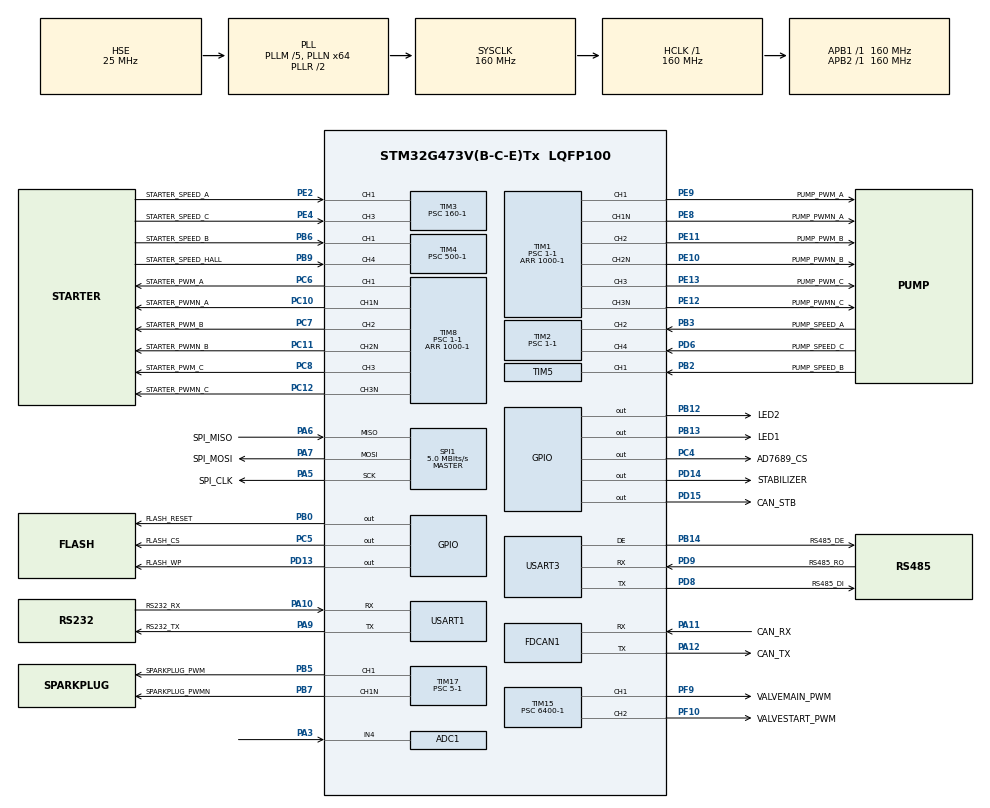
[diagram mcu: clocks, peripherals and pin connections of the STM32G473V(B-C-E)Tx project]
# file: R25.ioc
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ADC1.Channel-0\#ChannelRegularConversion=ADC_CHANNEL_VREFINT
ADC1.Channel-2\#ChannelRegularConversion=ADC_CHANNEL_TEMPSENSOR_ADC1
ADC1.Channel-3\#ChannelRegularConversion=ADC_CHANNEL_4
ADC1.EOCSelection=ADC_EOC_SEQ_CONV
ADC1.EnableAnalogWatchDog1=false
ADC1.EnableAnalogWatchDog2=false
ADC1.NbrOfConversion=3
ADC1.NbrOfConversionFlag=1
ADC1.OffsetNumber-0\#ChannelRegularConversion=ADC_OFFSET_NONE
ADC1.OffsetNumber-2\#ChannelRegularConversion=ADC_OFFSET_NONE
ADC1.OffsetNumber-3\#ChannelRegularConversion=ADC_OFFSET_NONE
ADC1.Rank-0\#ChannelRegularConversion=1
ADC1.Rank-2\#ChannelRegularConversion=2
ADC1.Rank-3\#ChannelRegularConversion=3
ADC1.SamplingTime-0\#ChannelRegularConversion=ADC_SAMPLETIME_247CYCLES_5
ADC1.SamplingTime-2\#ChannelRegularConversion=ADC_SAMPLETIME_247CYCLES_5
ADC1.SamplingTime-3\#ChannelRegularConversion=ADC_SAMPLETIME_247CYCLES_5
ADC1.master=1
Dma.ADC1.4.Direction=DMA_PERIPH_TO_MEMORY
Dma.ADC1.4.EventEnable=DISABLE
Dma.ADC1.4.Instance=DMA1_Channel3
Dma.ADC1.4.MemDataAlignment=DMA_MDATAALIGN_HALFWORD
Dma.ADC1.4.MemInc=DMA_MINC_ENABLE
Dma.ADC1.4.Mode=DMA_NORMAL
Dma.ADC1.4.PeriphDataAlignment=DMA_PDATAALIGN_HALFWORD
Dma.ADC1.4.PeriphInc=DMA_PINC_DISABLE
Dma.ADC1.4.Polarity=HAL_DMAMUX_REQ_GEN_RISING
Dma.ADC1.4.Priority=DMA_PRIORITY_LOW
Dma.ADC1.4.RequestNumber=1
Dma.ADC1.4.SignalID=NONE
Dma.ADC1.4.SyncEnable=DISABLE
Dma.ADC1.4.SyncPolarity=HAL_DMAMUX_SYNC_NO_EVENT
Dma.ADC1.4.SyncRequestNumber=1
Dma.ADC1.4.SyncSignalID=NONE
Dma.Request0=USART3_RX
Dma.Request1=USART3_TX
Dma.Request2=SPI1_RX
Dma.Request3=SPI1_TX
Dma.Request4=ADC1
Dma.SPI1_RX.2.Direction=DMA_PERIPH_TO_MEMORY
Dma.SPI1_RX.2.EventEnable=DISABLE
Dma.SPI1_RX.2.Instance=DMA1_Channel6
Dma.SPI1_RX.2.MemDataAlignment=DMA_MDATAALIGN_BYTE
Dma.SPI1_RX.2.MemInc=DMA_MINC_ENABLE
Dma.SPI1_RX.2.Mode=DMA_NORMAL
Dma.SPI1_RX.2.PeriphDataAlignment=DMA_PDATAALIGN_BYTE
Dma.SPI1_RX.2.PeriphInc=DMA_PINC_DISABLE
Dma.SPI1_RX.2.Polarity=HAL_DMAMUX_REQ_GEN_RISING
Dma.SPI1_RX.2.Priority=DMA_PRIORITY_LOW
Dma.SPI1_RX.2.RequestNumber=1
Dma.SPI1_RX.2.SignalID=NONE
Dma.SPI1_RX.2.SyncEnable=DISABLE
Dma.SPI1_RX.2.SyncPolarity=HAL_DMAMUX_SYNC_NO_EVENT
Dma.SPI1_RX.2.SyncRequestNumber=1
Dma.SPI1_RX.2.SyncSignalID=NONE
Dma.SPI1_TX.3.Direction=DMA_MEMORY_TO_PERIPH
Dma.SPI1_TX.3.EventEnable=DISABLE
Dma.SPI1_TX.3.Instance=DMA1_Channel7
Dma.SPI1_TX.3.MemDataAlignment=DMA_MDATAALIGN_BYTE
Dma.SPI1_TX.3.MemInc=DMA_MINC_ENABLE
Dma.SPI1_TX.3.Mode=DMA_NORMAL
Dma.SPI1_TX.3.PeriphDataAlignment=DMA_PDATAALIGN_BYTE
Dma.SPI1_TX.3.PeriphInc=DMA_PINC_DISABLE
Dma.SPI1_TX.3.Polarity=HAL_DMAMUX_REQ_GEN_RISING
Dma.SPI1_TX.3.Priority=DMA_PRIORITY_LOW
Dma.SPI1_TX.3.RequestNumber=1
Dma.SPI1_TX.3.SignalID=NONE
Dma.SPI1_TX.3.SyncEnable=DISABLE
Dma.SPI1_TX.3.SyncPolarity=HAL_DMAMUX_SYNC_NO_EVENT
Dma.SPI1_TX.3.SyncRequestNumber=1
Dma.SPI1_TX.3.SyncSignalID=NONE
Dma.USART3_RX.0.Direction=DMA_PERIPH_TO_MEMORY
Dma.USART3_RX.0.EventEnable=DISABLE
Dma.USART3_RX.0.Instance=DMA1_Channel1
Dma.USART3_RX.0.MemDataAlignment=DMA_MDATAALIGN_BYTE
Dma.USART3_RX.0.MemInc=DMA_MINC_ENABLE
Dma.USART3_RX.0.Mode=DMA_NORMAL
Dma.USART3_RX.0.PeriphDataAlignment=DMA_PDATAALIGN_BYTE
Dma.USART3_RX.0.PeriphInc=DMA_PINC_DISABLE
Dma.USART3_RX.0.Polarity=HAL_DMAMUX_REQ_GEN_RISING
Dma.USART3_RX.0.Priority=DMA_PRIORITY_LOW
Dma.USART3_RX.0.RequestNumber=1
Dma.USART3_RX.0.SignalID=NONE
Dma.USART3_RX.0.SyncEnable=DISABLE
Dma.USART3_RX.0.SyncPolarity=HAL_DMAMUX_SYNC_NO_EVENT
Dma.USART3_RX.0.SyncRequestNumber=1
Dma.USART3_RX.0.SyncSignalID=NONE
Dma.USART3_TX.1.Direction=DMA_MEMORY_TO_PERIPH
Dma.USART3_TX.1.EventEnable=DISABLE
Dma.USART3_TX.1.Instance=DMA1_Channel2
Dma.USART3_TX.1.MemDataAlignment=DMA_MDATAALIGN_BYTE
Dma.USART3_TX.1.MemInc=DMA_MINC_ENABLE
Dma.USART3_TX.1.Mode=DMA_NORMAL
Dma.USART3_TX.1.PeriphDataAlignment=DMA_PDATAALIGN_BYTE
Dma.USART3_TX.1.PeriphInc=DMA_PINC_DISABLE
Dma.USART3_TX.1.Polarity=HAL_DMAMUX_REQ_GEN_RISING
Dma.USART3_TX.1.Priority=DMA_PRIORITY_LOW
Dma.USART3_TX.1.RequestNumber=1
Dma.USART3_TX.1.SignalID=NONE
Dma.USART3_TX.1.SyncEnable=DISABLE
Dma.USART3_TX.1.SyncPolarity=HAL_DMAMUX_SYNC_NO_EVENT
Dma.USART3_TX.1.SyncRequestNumber=1
Dma.USART3_TX.1.SyncSignalID=NONE
FDCAN1.CalculateBaudRateNominal=3333333
FDCAN1.CalculateTimeBitNominal=300
FDCAN1.CalculateTimeQuantumNominal=100.0
Mcu.Family=STM32G4
Mcu.Name=STM32G473V(B-C-E)Tx
Mcu.Package=LQFP100
NVIC.DMA1_Channel1_IRQn=true\:0\:0\:false\:false\:true\:false\:true\:true
NVIC.DMA1_Channel2_IRQn=true\:0\:0\:false\:false\:true\:false\:true\:true
NVIC.DMA1_Channel3_IRQn=true\:0\:0\:false\:false\:true\:false\:true\:true
NVIC.DMA1_Channel6_IRQn=true\:0\:0\:false\:false\:true\:false\:true\:true
NVIC.DMA1_Channel7_IRQn=true\:0\:0\:false\:false\:true\:false\:true\:true
NVIC.FDCAN1_IT0_IRQn=true\:0\:0\:false\:false\:true\:true\:true\:true
NVIC.PriorityGroup=NVIC_PRIORITYGROUP_4
NVIC.SPI1_IRQn=true\:0\:0\:false\:false\:true\:true\:true\:true
NVIC.TIM1_UP_TIM16_IRQn=true\:0\:0\:false\:false\:true\:true\:true\:true
NVIC.TIM20_UP_IRQn=true\:0\:0\:false\:false\:true\:true\:true\:true
NVIC.TIM2_IRQn=true\:0\:0\:false\:false\:true\:true\:true\:true
NVIC.TIM3_IRQn=true\:0\:0\:false\:false\:true\:true\:true\:true
NVIC.TIM4_IRQn=true\:0\:0\:false\:false\:true\:true\:true\:true
NVIC.TIM5_IRQn=true\:0\:0\:false\:false\:true\:true\:true\:true
NVIC.TIM6_DAC_IRQn=true\:0\:0\:false\:false\:true\:true\:true\:true
NVIC.TIM7_DAC_IRQn=true\:0\:0\:false\:false\:true\:true\:true\:true
NVIC.USART1_IRQn=true\:0\:0\:false\:false\:true\:true\:true\:true
NVIC.USART3_IRQn=true\:0\:0\:false\:false\:true\:true\:true\:true
PA10.GPIO_Label=RS232_RX
PA10.Mode=Asynchronous
PA10.Signal=USART1_RX
PA11.GPIO_Label=CAN_RX
PA11.Mode=FDCAN_Activate
PA11.Signal=FDCAN1_RX
PA12.GPIO_Label=CAN_TX
PA12.Mode=FDCAN_Activate
PA12.Signal=FDCAN1_TX
PA13.GPIO_Label=SWDIO
PA13.Mode=Serial_Wire
PA13.Signal=SYS_JTMS-SWDIO
PA14.GPIO_Label=SWCLK
PA14.Mode=Serial_Wire
PA14.Signal=SYS_JTCK-SWCLK
PA3.Mode=IN4-Single-Ended
PA3.Signal=ADC1_IN4
PA5.GPIO_Label=SPI_CLK
PA5.GPIO_Speed=GPIO_SPEED_FREQ_VERY_HIGH
PA5.Mode=Full_Duplex_Master
PA5.Signal=SPI1_SCK
PA6.GPIO_Label=SPI_MISO
PA6.GPIO_Speed=GPIO_SPEED_FREQ_VERY_HIGH
PA6.Mode=Full_Duplex_Master
PA6.Signal=SPI1_MISO
PA7.GPIO_Label=SPI_MOSI
PA7.GPIO_Speed=GPIO_SPEED_FREQ_VERY_HIGH
PA7.Mode=Full_Duplex_Master
PA7.Signal=SPI1_MOSI
PA9.GPIO_Label=RS232_TX
PA9.Mode=Asynchronous
PA9.Signal=USART1_TX
PB0.GPIO_Label=FLASH_RESET
PB0.Signal=GPIO_Output
PB12.GPIO_Label=LED2
PB12.GPIO_ModeDefaultOutputPP=GPIO_MODE_OUTPUT_PP
PB12.GPIO_PuPd=GPIO_PULLUP
PB12.GPIO_Speed=GPIO_SPEED_FREQ_VERY_HIGH
PB12.Signal=GPIO_Output
PB13.GPIO_Label=LED1
PB13.GPIO_ModeDefaultOutputPP=GPIO_MODE_OUTPUT_OD
PB13.GPIO_PuPd=GPIO_PULLUP
PB13.GPIO_Speed=GPIO_SPEED_FREQ_VERY_HIGH
PB13.Signal=GPIO_Output
PB14.GPIO_Label=RS485_DE
PB14.Mode=Hardware Flow Control (RS485)
PB14.Signal=USART3_DE
PB2.GPIO_Label=PUMP_SPEED_B
PB2.Signal=S_TIM5_CH1
PB3.GPIO_Label=PUMP_SPEED_A
PB3.Signal=S_TIM2_CH2
PB5.GPIO_Label=SPARKPLUG_PWM
PB5.Signal=S_TIM17_CH1
PB6.GPIO_Label=STARTER_SPEED_B
PB6.Signal=S_TIM4_CH1
PB7.GPIO_Label=SPARKPLUG_PWMN
PB7.Mode=PWM Generation1 CH1 CH1N
PB7.Signal=TIM17_CH1N
PB9.GPIO_Label=STARTER_SPEED_HALL
PB9.Signal=S_TIM4_CH4
PC10.GPIO_Label=STARTER_PWMN_A
PC10.GPIO_Speed=GPIO_SPEED_FREQ_VERY_HIGH
PC10.Mode=PWM Generation1 CH1 CH1N
PC10.Signal=TIM8_CH1N
PC11.GPIO_Label=STARTER_PWMN_B
PC11.GPIO_Speed=GPIO_SPEED_FREQ_VERY_HIGH
PC11.Mode=PWM Generation2 CH2 CH2N
PC11.Signal=TIM8_CH2N
PC12.GPIO_Label=STARTER_PWMN_C
PC12.GPIO_Speed=GPIO_SPEED_FREQ_VERY_HIGH
PC12.Mode=PWM Generation3 CH3 CH3N
PC12.Signal=TIM8_CH3N
PC4.GPIO_Label=AD7689_CS
PC4.GPIO_PuPd=GPIO_PULLUP
PC4.GPIO_Speed=GPIO_SPEED_FREQ_VERY_HIGH
PC4.Signal=GPIO_Output
PC5.GPIO_Label=FLASH_CS
PC5.GPIO_PuPd=GPIO_PULLUP
PC5.GPIO_Speed=GPIO_SPEED_FREQ_VERY_HIGH
PC5.Signal=GPIO_Output
PC6.GPIO_Label=STARTER_PWM_A
PC6.GPIO_Speed=GPIO_SPEED_FREQ_VERY_HIGH
PC6.Signal=S_TIM8_CH1
PC7.GPIO_Label=STARTER_PWM_B
PC7.GPIO_Speed=GPIO_SPEED_FREQ_VERY_HIGH
PC7.Signal=S_TIM8_CH2
PC8.GPIO_Label=STARTER_PWM_C
PC8.GPIO_Speed=GPIO_SPEED_FREQ_VERY_HIGH
PC8.Signal=S_TIM8_CH3
PD13.GPIO_Label=FLASH_WP
PD13.Signal=GPIO_Output
PD14.GPIO_Label=STABILIZER
PD14.Signal=GPIO_Output
PD15.GPIO_Label=CAN_STB
PD15.Signal=GPIO_Output
PD6.GPIO_Label=PUMP_SPEED_C
PD6.Signal=S_TIM2_CH4
PD8.GPIO_Label=RS485_DI
PD8.Mode=Asynchronous
PD8.Signal=USART3_TX
PD9.GPIO_Label=RS485_RO
PD9.Mode=Asynchronous
PD9.Signal=USART3_RX
PE10.GPIO_Label=PUMP_PWMN_B
PE10.GPIO_Speed=GPIO_SPEED_FREQ_VERY_HIGH
PE10.Mode=PWM Generation2 CH2 CH2N
PE10.Signal=TIM1_CH2N
PE11.GPIO_Label=PUMP_PWM_B
PE11.GPIO_Speed=GPIO_SPEED_FREQ_VERY_HIGH
PE11.Signal=S_TIM1_CH2
PE12.GPIO_Label=PUMP_PWMN_C
PE12.GPIO_Speed=GPIO_SPEED_FREQ_VERY_HIGH
PE12.Mode=PWM Generation3 CH3 CH3N
PE12.Signal=TIM1_CH3N
PE13.GPIO_Label=PUMP_PWM_C
PE13.GPIO_Speed=GPIO_SPEED_FREQ_VERY_HIGH
PE13.Signal=S_TIM1_CH3
PE2.GPIO_Label=STARTER_SPEED_A
PE2.Signal=S_TIM3_CH1
PE4.GPIO_Label=STARTER_SPEED_C
PE4.Signal=S_TIM3_CH3
PE8.GPIO_Label=PUMP_PWMN_A
PE8.GPIO_Speed=GPIO_SPEED_FREQ_VERY_HIGH
PE8.Mode=PWM Generation1 CH1 CH1N
PE8.Signal=TIM1_CH1N
PE9.GPIO_Label=PUMP_PWM_A
PE9.GPIO_Speed=GPIO_SPEED_FREQ_VERY_HIGH
PE9.Signal=S_TIM1_CH1
PF0-OSC_IN.Mode=HSE-External-Oscillator
PF0-OSC_IN.Signal=RCC_OSC_IN
PF1-OSC_OUT.Mode=HSE-External-Oscillator
PF1-OSC_OUT.Signal=RCC_OSC_OUT
PF10.GPIO_Label=VALVESTART_PWM
PF10.Signal=S_TIM15_CH2
PF9.GPIO_Label=VALVEMAIN_PWM
PF9.Signal=S_TIM15_CH1
ProjectManager.HeapSize=0x200
ProjectManager.StackSize=0x400
ProjectManager.TargetToolchain=STM32CubeIDE
RCC.ADC12Freq_Value=160000000
RCC.ADC345Freq_Value=160000000
RCC.AHBFreq_Value=160000000
RCC.APB1Freq_Value=160000000
RCC.APB1TimFreq_Value=160000000
RCC.APB2Freq_Value=160000000
RCC.APB2TimFreq_Value=160000000
RCC.CortexFreq_Value=160000000
RCC.EXTERNAL_CLOCK_VALUE=12288000
RCC.HCLKFreq_Value=160000000
RCC.HSE_VALUE=25000000
RCC.HSI48_VALUE=48000000
RCC.HSI_VALUE=16000000
RCC.LSE_VALUE=32768
RCC.PLLM=RCC_PLLM_DIV5
RCC.PLLN=64
RCC.PLLSourceVirtual=RCC_PLLSOURCE_HSE
RCC.SYSCLKFreq_VALUE=160000000
RCC.SYSCLKSource=RCC_SYSCLKSOURCE_PLLCLK
RCC.USBFreq_Value=160000000
RCC.VCOOutputFreq_Value=320000000
SH.S_TIM15_CH1.0=TIM15_CH1,PWM Generation1 CH1
SH.S_TIM15_CH2.0=TIM15_CH2,PWM Generation2 CH2
SH.S_TIM17_CH1.0=TIM17_CH1,PWM Generation1 CH1 CH1N
SH.S_TIM1_CH1.0=TIM1_CH1,PWM Generation1 CH1 CH1N
SH.S_TIM1_CH2.0=TIM1_CH2,PWM Generation2 CH2 CH2N
SH.S_TIM1_CH3.0=TIM1_CH3,PWM Generation3 CH3 CH3N
SH.S_TIM2_CH2.0=TIM2_CH2,Input_Capture2_from_TI2
SH.S_TIM2_CH4.0=TIM2_CH4,Input_Capture4_from_TI4
SH.S_TIM3_CH1.0=TIM3_CH1,Input_Capture1_from_TI1
SH.S_TIM3_CH3.0=TIM3_CH3,Input_Capture3_from_TI3
SH.S_TIM4_CH1.0=TIM4_CH1,Input_Capture1_from_TI1
SH.S_TIM4_CH4.0=TIM4_CH4,Input_Capture4_from_TI4
SH.S_TIM5_CH1.0=TIM5_CH1,Input_Capture1_from_TI1
SH.S_TIM8_CH1.0=TIM8_CH1,PWM Generation1 CH1 CH1N
SH.S_TIM8_CH2.0=TIM8_CH2,PWM Generation2 CH2 CH2N
SH.S_TIM8_CH3.0=TIM8_CH3,PWM Generation3 CH3 CH3N
SPI1.BaudRatePrescaler=SPI_BAUDRATEPRESCALER_32
SPI1.CalculateBaudRate=5.0 MBits/s
SPI1.DataSize=SPI_DATASIZE_8BIT
SPI1.Direction=SPI_DIRECTION_2LINES
SPI1.Mode=SPI_MODE_MASTER
SPI1.NSSPMode=SPI_NSS_PULSE_ENABLE
SPI1.VirtualType=VM_MASTER
TIM1.AutoReloadPreload=TIM_AUTORELOAD_PRELOAD_DISABLE
TIM1.Channel-PWM\ Generation1\ CH1\ CH1N=TIM_CHANNEL_1
TIM1.Channel-PWM\ Generation2\ CH2\ CH2N=TIM_CHANNEL_2
TIM1.Channel-PWM\ Generation3\ CH3\ CH3N=TIM_CHANNEL_3
TIM1.DeadTime=2
TIM1.OCIdleState_1=TIM_OCIDLESTATE_RESET
TIM1.PeriodNoDither=1000-1
TIM1.Prescaler=1-1
TIM15.Channel-PWM\ Generation1\ CH1=TIM_CHANNEL_1
TIM15.Channel-PWM\ Generation2\ CH2=TIM_CHANNEL_2
TIM15.OCPolarity_1=TIM_OCPOLARITY_HIGH
TIM15.OCPolarity_2=TIM_OCPOLARITY_HIGH
TIM15.PeriodNoDither=1000-1
TIM15.Prescaler=6400-1
TIM15.PulseNoDither_1=0
TIM15.PulseNoDither_2=0
TIM16.AutoReloadPreload=TIM_AUTORELOAD_PRELOAD_ENABLE
TIM16.PeriodNoDither=1000-1
TIM16.Prescaler=160-1
TIM17.Channel=TIM_CHANNEL_1
TIM17.DeadTime=10
TIM17.PeriodNoDither=166-1
TIM17.Prescaler=5-1
TIM2.Channel-Input_Capture1_from_TI2_63=TIM_CHANNEL_1
TIM2.Channel-Input_Capture2_from_TI2=TIM_CHANNEL_2
TIM2.Channel-Input_Capture3_from_TI4_63=TIM_CHANNEL_3
TIM2.Channel-Input_Capture4_from_TI4=TIM_CHANNEL_4
TIM2.ICFilter_CH2=15
TIM2.ICFilter_CH4=15
TIM2.ICPolarity_CH1=TIM_INPUTCHANNELPOLARITY_FALLING
TIM2.ICPolarity_CH2=TIM_INPUTCHANNELPOLARITY_RISING
TIM2.ICPolarity_CH3=TIM_INPUTCHANNELPOLARITY_FALLING
TIM2.ICPolarity_CH4=TIM_INPUTCHANNELPOLARITY_RISING
TIM2.Prescaler=1-1
TIM20.PeriodNoDither=10000-1
TIM20.Prescaler=1600-1
TIM3.AutoReloadPreload=TIM_AUTORELOAD_PRELOAD_DISABLE
TIM3.Channel-Input_Capture1_from_TI1=TIM_CHANNEL_1
TIM3.Channel-Input_Capture2_from_TI1_63=TIM_CHANNEL_2
TIM3.Channel-Input_Capture3_from_TI3=TIM_CHANNEL_3
TIM3.Channel-Input_Capture4_from_TI3_63=TIM_CHANNEL_4
TIM3.ICFilter_CH1=15
TIM3.ICFilter_CH3=15
TIM3.ICPolarity_CH1=TIM_INPUTCHANNELPOLARITY_FALLING
TIM3.ICPolarity_CH2=TIM_INPUTCHANNELPOLARITY_RISING
TIM3.ICPolarity_CH3=TIM_INPUTCHANNELPOLARITY_FALLING
TIM3.ICPolarity_CH4=TIM_INPUTCHANNELPOLARITY_RISING
TIM3.Prescaler=160-1
TIM4.AutoReloadPreload=TIM_AUTORELOAD_PRELOAD_DISABLE
TIM4.Channel-Input_Capture1_from_TI1=TIM_CHANNEL_1
TIM4.Channel-Input_Capture2_from_TI1_63=TIM_CHANNEL_2
TIM4.Channel-Input_Capture3_from_TI4_63=TIM_CHANNEL_3
TIM4.Channel-Input_Capture4_from_TI4=TIM_CHANNEL_4
TIM4.ICFilter_CH1=15
TIM4.ICFilter_CH4=15
TIM4.ICPolarity_CH2=TIM_INPUTCHANNELPOLARITY_FALLING
TIM4.ICPolarity_CH3=TIM_INPUTCHANNELPOLARITY_FALLING
TIM4.ICPrescaler-Input_Capture3_from_TI4_63=TIM_ICPSC_DIV1
TIM4.ICPrescaler-Input_Capture4_from_TI4=TIM_ICPSC_DIV1
TIM4.PeriodNoDither=60000-1
TIM4.Prescaler=500-1
TIM5.Channel-Input_Capture1_from_TI1=TIM_CHANNEL_1
TIM5.Channel-Input_Capture2_from_TI1_63=TIM_CHANNEL_2
TIM5.ICFilter_CH1=15
TIM5.ICPolarity_CH2=TIM_INPUTCHANNELPOLARITY_FALLING
TIM5.PeriodNoDither=3000-1
TIM5.Prescaler=160-1
TIM6.AutoReloadPreload=TIM_AUTORELOAD_PRELOAD_ENABLE
TIM6.PeriodNoDither=6000-1
TIM6.Prescaler=6000-1
TIM6.TIM_MasterOutputTrigger=TIM_TRGO_RESET
TIM7.AutoReloadPreload=TIM_AUTORELOAD_PRELOAD_ENABLE
TIM7.PeriodNoDither=6000-1
TIM7.Prescaler=6000-1
TIM8.AutoReloadPreload=TIM_AUTORELOAD_PRELOAD_DISABLE
TIM8.Channel-PWM\ Generation1\ CH1\ CH1N=TIM_CHANNEL_1
TIM8.Channel-PWM\ Generation2\ CH2\ CH2N=TIM_CHANNEL_2
TIM8.Channel-PWM\ Generation3\ CH3\ CH3N=TIM_CHANNEL_3
TIM8.DeadTime=2
TIM8.DeadTimePreload=DISABLE
TIM8.PeriodNoDither=1000-1
TIM8.Prescaler=1-1
USART1.VirtualMode-Asynchronous=VM_ASYNC
USART3.VirtualMode-Asynchronous=VM_ASYNC
USART3.VirtualMode-Hardware\ Flow\ Control\ (RS485)=VM_ASYNC
VP_ADC1_TempSens_Input.Mode=IN-TempSens
VP_ADC1_Vref_Input.Mode=IN-Vrefint
VP_CRC_VS_CRC.Mode=CRC_Activate
VP_SYS_VS_DBSignals.Mode=DisableDeadBatterySignals
VP_TIM16_VS_ClockSourceINT.Mode=Enable_Timer
VP_TIM17_VS_ClockSourceINT.Mode=Enable_Timer
VP_TIM20_VS_ClockSourceINT.Mode=Internal
VP_TIM2_VS_indirect_ch2.Mode=Input_Capture1_from_TI2_63
VP_TIM2_VS_indirect_ch4.Mode=Input_Capture3_from_TI4_63
VP_TIM3_VS_indirect_ch1.Mode=Input_Capture2_from_TI1_63
VP_TIM3_VS_indirect_ch3.Mode=Input_Capture4_from_TI3_63
VP_TIM4_VS_indirect_ch1.Mode=Input_Capture2_from_TI1_63
VP_TIM4_VS_indirect_ch4.Mode=Input_Capture3_from_TI4_63
VP_TIM5_VS_indirect_ch1.Mode=Input_Capture2_from_TI1_63
VP_TIM6_VS_ClockSourceINT.Mode=Enable_Timer
VP_TIM7_VS_ClockSourceINT.Mode=Enable_Timer
board=custom

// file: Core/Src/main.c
/* USER CODE BEGIN Header */
/**
 ******************************************************************************
 * @file           : main.c
 * @brief          : Main program body
 ******************************************************************************
 * @attention
 *
 * Copyright (c) 2026 STMicroelectronics.
 * All rights reserved.
 *
 * This software is licensed under terms that can be found in the LICENSE file
 * in the root directory of this software component.
 * If no LICENSE file comes with this software, it is provided AS-IS.
 *
 ******************************************************************************
 */
/* USER CODE END Header */
#include "main.h"
#include "adc.h"
#include "crc.h"
#include "dma.h"
#include "fdcan.h"
#include "spi.h"
#include "tim.h"
#include "usart.h"
#include "gpio.h"

/* USER CODE BEGIN Includes */
#include "pump.h"
#include "starter.h"
#include <stdlib.h>
#include "system.h"
#include "../../../../Thermocouple/thermocouple.h"
#include "flash_modul.h"
/* USER CODE END Includes */

/* USER CODE BEGIN PV */

uint8_t rs_rx_flag=0;
uint8_t rs_tx_flag=0;
uint8_t ModbusRX[300];
uint8_t ModbusTX[20]={0xFE,0xFE,0xC1,0,1,2,3,4,5,6,7,8,9,0x00,0xFF,0xFF};
uint8_t i=0;
//uint32_t test=0;
uint8_t count_start_byte=0;//количество байт в заголовке пакета
uint8_t count_stop_byte=0;//количество байт в конце пакета
uint16_t receive_package_size=0;

uint8_t xor=0;
uint8_t arr_size_tx=0;
uint8_t usb_rx_flag=0;

//uint8_t advence_tm_buff[77]={0xFE,0xFE,ADDRESS};
uint32_t time=0;

uint8_t standard_response[STANDARD_ANSWER_SIZE+2]={0xFE,0xFE,0xA1,0x00,0x00,0xFF,0xFF};//расширенный размер на случай добавления экранирования
//uint8_t tm_response[TM_ANSWER_SIZE+30]={0xFE,0xFE,ADDRESS,0,0,0,0,0,0,0,0,0,0,0,0,0,0,0,0,0,0,0,0,0xFF,0xFF};
//  uint8_t tm_response_new[TM_ANSWER_SIZE]={0xFE,0xFE,ADDRESS,0,0,0,0,0,0,0,0,0,0,0,0,0,0,0,0,0,0,0,0,0xFF,0xFF};
uint8_t tm_update_flag=1;

uint8_t screen_numb=0;//количество экранированных байт

uint8_t rs_control_state=0;//для контроля приходов пакетов

uint8_t rs_req_count=0;
uint8_t rs_rud_count=0;
uint8_t rs_bsu_count=0;

uint16_t rs_old_bsu_count=0;
uint16_t rs_new_bsu_count=0;

uint16_t sau_to_bsu_count=0;

uint8_t rs_start_stop_err_count=0;
uint8_t rs_start_count=0;
uint8_t rs_start1_count=0;
uint8_t rs_start2_count=0;

uint8_t rs_stop_count=0;
uint8_t rs_stop1_count=0;
uint8_t rs_stop2_count=0;

uint8_t rs_flag_ok=0;
uint8_t rs_state_count=0;

uint8_t rs_com1_state=0;
uint8_t rs_com2_state=0;
uint8_t rs_com3_state=0;
uint8_t rs_com4_state=0;

uint8_t rs_com1_count=0;
uint8_t rs_com2_count=0;
uint8_t rs_com3_count=0;
uint8_t rs_com4_count=0;
uint8_t flag_combat_start=0;

struct TIM tim;
#pragma pack(0)
struct ADC_1 adc_1;
#pragma pack(0)
struct CONFIG config;
struct CONFIG *p_config;
#pragma pack(0)
struct GET_CONFIG get_config;
struct SET_CONFIG set_config;
/* USER CODE END PV */

void SystemClock_Config(void);
/* USER CODE BEGIN PFP */
//static inline void BLDC_Update();
void Get_Speed_Starter();
uint32_t Hall_filter(uint32_t rotor_speed);
/* USER CODE END PFP */

/* USER CODE BEGIN 0 */
int16_t hall_ccr = 0;
float hall_speed = 0;
uint8_t no_capture = 1;
/* USER CODE END 0 */

int main(void)
{

  /* MCU Configuration--------------------------------------------------------*/

  /* Reset of all peripherals, Initializes the Flash interface and the Systick. */
  HAL_Init();

  /* Configure the system clock */
  SystemClock_Config();

  /* Initialize all configured peripherals */
  MX_GPIO_Init();
  MX_DMA_Init();
  MX_FDCAN1_Init();
  MX_SPI1_Init();
  MX_TIM1_Init();
  MX_TIM8_Init();
  MX_TIM2_Init();
  MX_TIM3_Init();
  MX_TIM15_Init();
  MX_USART1_UART_Init();
  MX_USART3_UART_Init();
  MX_TIM4_Init();
  MX_TIM5_Init();
  MX_TIM6_Init();
  MX_TIM17_Init();
  MX_ADC1_Init();
  MX_TIM7_Init();
  MX_TIM16_Init();
  MX_CRC_Init();
  MX_TIM20_Init();
  /* USER CODE BEGIN 2 */
    HAL_UART_Abort(rs485_puart);
    HAL_UARTEx_ReceiveToIdle_DMA(rs485_puart, (uint8_t*)(rs.rs485_rx_buff), sizeof(rs.rs485_rx_buff));
    __HAL_UART_ENABLE_IT(rs485_puart, UART_IT_IDLE);

    p_config=&config;

    //PIDController_Init(&pid_pump, 0, 800, -1, 1, 0, 800);
    PIDController_Init(&pid_starter, 0, 1000, -1, 1, 0, 300);
    //PIDController_Init(&pid_t_lim,0,1,0,10000,0,10000);
    //PIDController_Init(&pid_t4_start,0,1000,-1,0,-1000,0);
    //PIDController_Init(&pid_t4_hall_err,0,1000,-1,1,1000,2000);

    mtm.crc32 = HAL_CRC_Calculate(&hcrc, (uint32_t*)0x08000000, 131072);
    mtm.crc16 = (mtm.crc32 >> 16) ^ (mtm.crc32 & 0xFF);

    // Disable AD7689 chip select
    HAL_GPIO_WritePin(AD7689_CS_GPIO_Port, AD7689_CS_Pin, GPIO_PIN_SET);
    FLASH_CS_UNSELECT;

    HAL_ADCEx_Calibration_Start(&hadc1, ADC_SINGLE_ENDED);
    HAL_ADC_Start_DMA(&hadc1, (uint32_t*)(&(systemvars.adc)), 3);

    pump.targetspeed = 0;
    pump.idle.run_flag = 1;
    starter.targetspeed = 0;
    starter.idle.run_flag = 1;
    HAL_TIM_IC_Start_IT(&htim4, TIM_CHANNEL_3); // Hall sensor
    HAL_TIM_IC_Start_IT(&htim4, TIM_CHANNEL_4); // Hall sensor
    __HAL_TIM_ENABLE_IT(&htim4, TIM_IT_CC3);
    __HAL_TIM_ENABLE_IT(&htim4, TIM_IT_CC4);

    // Клапаны
    HAL_TIM_PWM_Start(&htim15, TIM_CHANNEL_1);
    HAL_TIM_PWM_Start(&htim15, TIM_CHANNEL_2);

    // Свеча или искра
    HAL_TIM_PWM_Start(&htim17, TIM_CHANNEL_1);
    HAL_TIMEx_PWMN_Start(&htim17, TIM_CHANNEL_1);
    HAL_TIM_Base_Start_IT(&htim16);
    HAL_TIM_Base_Start_IT(&htim20);
    HAL_Delay(5);
  /* USER CODE END 2 */

  /* Infinite loop */
  /* USER CODE BEGIN WHILE */
    while(1)
    {
        if(tim.flag_100Hz)
        {
            tim.flag_100Hz = 0;
            Get_Speed_Starter();
            mtm.pump_speed = pump.intspeed;
        }
        if(tim.flag_1000Hz)
        {
            tim.flag_1000Hz = 0;
            Pump_Update();
            Starter_Update();
        }
        if(tim.flag_10Hz)
        {
            tim.flag_10Hz = 0;
            LED1_GPIO_Port->BSRR = ((LED1_GPIO_Port->ODR & LED1_Pin) << 16u) | (~LED1_GPIO_Port->ODR & LED1_Pin);

            starter.speed = 0.5 * starter.speed + 0.5 * starter.speed_hall_cnt / STARTER_MAGPAIRS / 2 * 1000 / 100 * 60;
            starter.intspeed = (uint32_t)starter.speed;
            starter.speed_cnt = 0;
            starter.speed_hall_cnt = 0;

            pump.speed = 0.5 * pump.speed + 0.5 * pump.speed_cnt / PUMP_MAGPAIRS / 6 * 1000 / 100 * 60;
            pump.intspeed = (uint32_t)pump.speed;
            pump.speed_cnt = 0;

            Regulation();

            if(systemvars.adc_ready_flag)
            {
                systemvars.adc_ready_flag = 0;
                systemvars.vref = __HAL_ADC_CALC_VREFANALOG_VOLTAGE(systemvars.adc[0], ADC_RESOLUTION_12B);
                systemvars.mcu_temp = __HAL_ADC_CALC_TEMPERATURE(systemvars.vref, systemvars.adc[1], ADC_RESOLUTION_12B);
                systemvars.thermocouple_volts = __HAL_ADC_CALC_DATA_TO_VOLTAGE(systemvars.vref, systemvars.adc[2], ADC_RESOLUTION_12B);
                TC_Volts2Temp((float)systemvars.thermocouple_volts / 52.f - 14.9551345962f, 0.f, &(systemvars.thermocouple_temp));
                mtm.t_real = systemvars.thermocouple_temp;
                hall_speed = 60.f / ((STARTER_IC_PSC + 1) * (float)hall_ccr / STARTER_TIM_FREQ * 2. * STARTER_MAGPAIRS);

                HAL_ADC_Start_DMA(&hadc1, (uint32_t*)systemvars.adc, 3);
            }
            if(mtm.adc1_complate_flag)
            {
                mtm.adc1_complate_flag = 0;
                mtm.vref = systemvars.vref;
                mtm.vref_k = 3.3 / 4096.00;
            }

            if(flash.tm_on_flag)
            {
                TM_updater(tim.timer_ms);
            }

            rs.rs485_active_count++;
            if ((rs.rs485_active_count > 50) && (flash.tm_upload_flag == 0))
            {
                rs.rs485_active_count = 0;
                HAL_UART_Abort(rs485_puart);
                HAL_UARTEx_ReceiveToIdle_DMA(rs485_puart, (uint8_t*)rs.rs485_rx_buff, sizeof(rs.rs485_rx_buff));
                 __HAL_UART_ENABLE_IT(rs485_puart, UART_IT_IDLE);
            }
            if(mtm.rotor_speed > 10000)
            {
                flash.operation_count_tim++;
                if(flash.operation_count_tim > 100)
                {
                    flash.operation_count_tim = 0;
                    flash.flag_reset_next_bit_oper_count = 1;
                }
            }
        }

        State_machine_flash();

        if(rs.config_complate_flag == 0)
        {
            mtm.engine_state = 9;
        }

        if(mtm.tc_complate_flag)
        {
            mtm.tc_complate_flag=0;
        }

        //обработка rs-485------------------------------------------------------------------------------------------------
        if(rs.rs485_rx_flag)
          {
              rs.rs485_rx_flag = 0;
              Frame_Test();
          }
        if(rs.rs485_tx_flag && (flash.fat_upload_flag == 0) && (flash.tm_upload_flag == 0))
        {
            rs.rs485_tx_flag = 0;
            if(rs.config_updating)
            {
                HAL_UARTEx_ReceiveToIdle_DMA(rs485_puart, (uint8_t*)(&config), sizeof(config) * 2);
            }
            else
            {
                HAL_UARTEx_ReceiveToIdle_DMA(rs485_puart, (uint8_t*)rs.rs485_rx_buff, sizeof(rs.rs485_rx_buff));
            }
        }

        LED2_GPIO_Port->BSRR = ((LED2_GPIO_Port->ODR & LED2_Pin) << 16u) | (~LED2_GPIO_Port->ODR & LED2_Pin);
    /* USER CODE END WHILE */

    }
}

void SystemClock_Config(void)
{
  RCC_OscInitTypeDef RCC_OscInitStruct = {0};
  RCC_ClkInitTypeDef RCC_ClkInitStruct = {0};

  /** Configure the main internal regulator output voltage
  */
  HAL_PWREx_ControlVoltageScaling(PWR_REGULATOR_VOLTAGE_SCALE1_BOOST);

  /** Initializes the RCC Oscillators according to the specified parameters
  * in the RCC_OscInitTypeDef structure.
  */
  RCC_OscInitStruct.OscillatorType = RCC_OSCILLATORTYPE_HSE;
  RCC_OscInitStruct.HSEState = RCC_HSE_ON;
  RCC_OscInitStruct.PLL.PLLState = RCC_PLL_ON;
  RCC_OscInitStruct.PLL.PLLSource = RCC_PLLSOURCE_HSE;
  RCC_OscInitStruct.PLL.PLLM = RCC_PLLM_DIV5;
  RCC_OscInitStruct.PLL.PLLN = 64;
  RCC_OscInitStruct.PLL.PLLP = RCC_PLLP_DIV2;
  RCC_OscInitStruct.PLL.PLLQ = RCC_PLLQ_DIV2;
  RCC_OscInitStruct.PLL.PLLR = RCC_PLLR_DIV2;
  if (HAL_RCC_OscConfig(&RCC_OscInitStruct) != HAL_OK)
  {
    Error_Handler();
  }

  /** Initializes the CPU, AHB and APB buses clocks
  */
  RCC_ClkInitStruct.ClockType = RCC_CLOCKTYPE_HCLK|RCC_CLOCKTYPE_SYSCLK
                              |RCC_CLOCKTYPE_PCLK1|RCC_CLOCKTYPE_PCLK2;
  RCC_ClkInitStruct.SYSCLKSource = RCC_SYSCLKSOURCE_PLLCLK;
  RCC_ClkInitStruct.AHBCLKDivider = RCC_SYSCLK_DIV1;
  RCC_ClkInitStruct.APB1CLKDivider = RCC_HCLK_DIV1;
  RCC_ClkInitStruct.APB2CLKDivider = RCC_HCLK_DIV1;

  if (HAL_RCC_ClockConfig(&RCC_ClkInitStruct, FLASH_LATENCY_4) != HAL_OK)
  {
    Error_Handler();
  }
}

/* USER CODE BEGIN 4 */
void HAL_TIM_PeriodElapsedCallback(TIM_HandleTypeDef *htim)
{
    static uint8_t cnt_100hz = 0;
    static uint8_t nocap_cnt = 0;
#if 1
    if(htim == &htim6)
    {

        if(pump.control_mode_t != CLOSELOOP)
        {
            pump.field_state = (pump.field_state + 1) % 6;
            BLDC_SetPWM(&pump);
        }
    }
#endif
    if(htim == &htim7) // Starter
    {
        if(starter.control_mode_t != CLOSELOOP)
        {
            //starter.speed_cnt += 1;
            starter.field_state = (starter.field_state + 1) % 6;
            BLDC_SetPWM(&starter);
        }
    }
    else if(htim == &htim5) // Pump
    {
        if(starter.control_mode_t == CLOSELOOP)
        {
            pump.field_state = (pump.field_state + 1) % 6;
            BLDC_SetPWM(&pump);
        }
    }
#if 0
    else if(htim == &htim4) // Starter
    {
        if(1)//no_capture)
        {
            starter.field_state = (starter.field_state + 1) % 6;
            BLDC_SetPWM(&starter);
        }
        no_capture = 1;
    }
#endif
    if(htim == &htim16)
    {
        tim.flag_1000Hz = 1;
        cnt_100hz++;
        if(cnt_100hz > 9)
        {
            cnt_100hz = 0;
            tim.flag_100Hz = 1;
        }
    }
    else if(htim == &htim20)
    {
        tim.flag_10Hz = 1;
    }
}

void HAL_TIM_IC_CaptureCallback(TIM_HandleTypeDef *htim)
{
    //int32_t pump_new_ccr, starter_new_ccr;

    if(htim == &htim2 && pump.control_mode_t == CLOSELOOP)
    {
        if(htim->Channel == HAL_TIM_ACTIVE_CHANNEL_1)
        {
            if(pump.field_state == STATE_3)
            {
                __HAL_TIM_SET_COUNTER(&htim5, 0);
                pump.speed_cnt += 1;
                pump.field_state = STATE_4;
            }
        } else if(htim->Channel == HAL_TIM_ACTIVE_CHANNEL_2)
        {
            if(pump.field_state == STATE_6)
            {
                __HAL_TIM_SET_COUNTER(&htim5, 0);
                pump.speed_cnt += 1;
                pump.field_state = STATE_1;
            }
        } else if(htim->Channel == HAL_TIM_ACTIVE_CHANNEL_3)
        {
            if(pump.field_state == STATE_1)
            {
                __HAL_TIM_SET_COUNTER(&htim5, 0);
                pump.speed_cnt += 1;
                pump.field_state = STATE_2;
            }
        } else if(htim->Channel == HAL_TIM_ACTIVE_CHANNEL_4)
        {
            if(pump.field_state == STATE_4)
            {
                __HAL_TIM_SET_COUNTER(&htim5, 0);
                pump.speed_cnt += 1;
                pump.field_state = STATE_5;
            }
        }
        BLDC_SetPWM(&pump);
    }
    if(htim == &htim5 && pump.control_mode_t == CLOSELOOP)
    {
        if(htim->Channel == HAL_TIM_ACTIVE_CHANNEL_1)
        {
            if(pump.field_state == STATE_2)
            {
                __HAL_TIM_SET_COUNTER(&htim5, 0);
                pump.speed_cnt += 1;
                pump.field_state = STATE_3;
            }
        } else if(htim->Channel == HAL_TIM_ACTIVE_CHANNEL_2)
        {
            if(pump.field_state == STATE_5)
            {
                __HAL_TIM_SET_COUNTER(&htim5, 0);
                pump.speed_cnt += 1;
                __HAL_TIM_SET_COUNTER(&htim2, 0);
                pump.field_state = STATE_6;

            }
        }
        BLDC_SetPWM(&pump);
    }

    else if(htim == &htim3 && starter.control_mode_t == CLOSELOOP)
    {
        if(htim->Channel == HAL_TIM_ACTIVE_CHANNEL_1)
        {
            if(starter.field_state == STATE_3)
            {
                starter.speed_cnt += 1;
                starter.field_state = STATE_4;
                BLDC_SetPWM(&starter);
            }
        } else if(htim->Channel == HAL_TIM_ACTIVE_CHANNEL_2)
        {
            if(starter.field_state == STATE_6)
            {
                starter.speed_cnt += 1;
                starter.field_state = STATE_1;
                BLDC_SetPWM(&starter);
            }
        } else if(htim->Channel == HAL_TIM_ACTIVE_CHANNEL_3)
        {
            if(starter.field_state == STATE_1)
            {
                starter.speed_cnt += 1;
                starter.field_state = STATE_2;
                BLDC_SetPWM(&starter);
            }
        } else if(htim->Channel == HAL_TIM_ACTIVE_CHANNEL_4)
        {
            if(starter.field_state == STATE_4)
            {
                starter.speed_cnt += 1;
                starter.field_state = STATE_5;
                BLDC_SetPWM(&starter);
            }
        }
    }
    else if(htim == &htim4 && starter.control_mode_t == CLOSELOOP)
    {

        if(htim->Channel == HAL_TIM_ACTIVE_CHANNEL_1)
        {
            if(starter.field_state == STATE_2)
            {
                starter.speed_cnt += 1;
                starter.field_state = STATE_3;
                BLDC_SetPWM(&starter);
            }
        } else if(htim->Channel == HAL_TIM_ACTIVE_CHANNEL_2)
        {
            if(starter.field_state == STATE_5)
            {
                //no_capture = 0;
                //__HAL_TIM_SET_COUNTER(&htim4, 0);
                starter.speed_cnt += 1;
                __HAL_TIM_SET_COUNTER(&htim3, 0);
                starter.field_state = STATE_6;
                BLDC_SetPWM(&starter);
            }
        }
    }
    if(htim == &htim4) // Always detect, not only in run mode
    {
        if(htim->Channel == HAL_TIM_ACTIVE_CHANNEL_3) // Hall sensor
        {
            starter.speed_hall_cnt += 1;
        }
        else if(htim->Channel == HAL_TIM_ACTIVE_CHANNEL_4) // Hall sensor
        {
            starter.speed_hall_cnt += 1;
        }
    }
}

void HAL_UARTEx_RxEventCallback(UART_HandleTypeDef *huart, uint16_t Size)
{
    if(huart == &huart1)
        {
            rs_232.rx_frame_size = Size;
            rs_232.rx_flag = 1;
        }
    if(huart == rs485_puart)
    {
        rs.receive_package_size = Size;
        rs.rs485_rx_flag = 1;
        rs.rs485_active_count = 0;
    }
}

void HAL_UART_TxCpltCallback(UART_HandleTypeDef *huart)
{
    if(huart == &huart1)
    {
        rs_232.tx_flag = 0;
    }
    if(huart == rs485_puart)
    {
        rs.rs485_tx_flag = 1;
    }
}

void HAL_SPI_TxRxCpltCallback(SPI_HandleTypeDef *hspi)
{
     if(hspi == &hspi1)
     {
         FLASH_CS_UNSELECT;
         flash.rx_tx_flag = 1;
        // spi_dma_flag=1;
     }
}
void HAL_SPI_RxCpltCallback(SPI_HandleTypeDef *hspi)
{

}

uint32_t Cclc_flash_crc(uint32_t begin_address, uint32_t end_address)
{
    while (begin_address < end_address)
    {
          hcrc.Instance->DR = *((uint32_t*)begin_address);
          begin_address += 4;
    }
    return hcrc.Instance->DR;
}

void Get_Speed_Starter()
{
    mtm.rotor_speed_old = mtm.rotor_speed;

    mtm.rotor_speed = starter.intspeed; // С драйвера

    if(mtm.rotor_speed > 100000)
    {
        mtm.rotor_speed = mtm.rotor_speed_old;
    }
    else if(mtm.rotor_speed > mtm.rotor_speed_old)
    {
        if(abs((int)(mtm.rotor_speed - mtm.rotor_speed_old)) > N1_MAX_DY)
        {
            if(mtm.n1_median_count < 50)
            {
                mtm.rotor_speed = mtm.rotor_speed_old;
            }
            mtm.n1_median_count++;
        }
        else
        {
            mtm.n1_median_count = 0;
        }
    }
}

uint32_t Hall_filter(uint32_t rotor_speed)
{
    static int n;
    static float m[100];
    static float y;
    y = y + (rotor_speed - m[n]);
    m[n] = rotor_speed;
    n = (n + 1) % 100;
    return y / 100;
}

float TC_Filter(float t)
{
    static int n;
    static float m[100];
    static float y;
    y = y + (t - m[n]);
    m[n] = t;
    n = (n + 1) % 100;
    return y / 100;
}
/* USER CODE END 4 */

void Error_Handler(void)
{
    __disable_irq();
    while(1)
    {
    }
}
